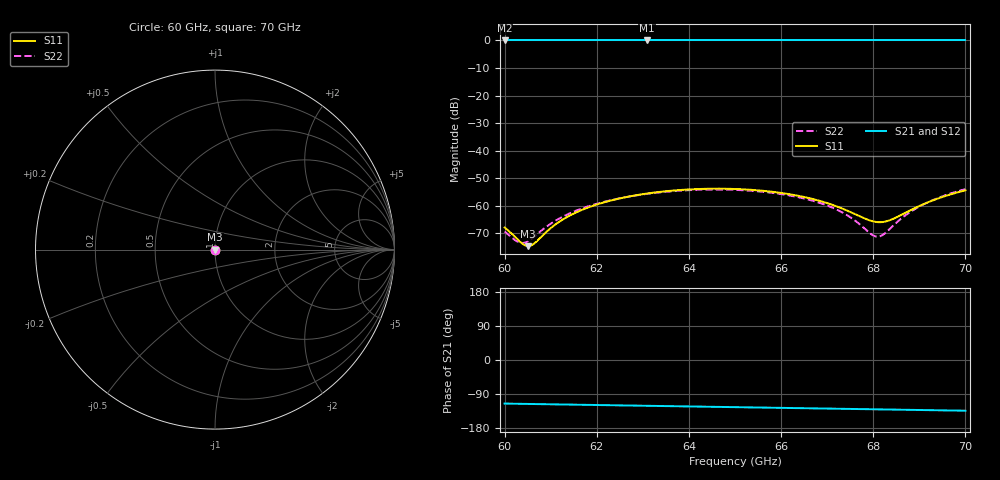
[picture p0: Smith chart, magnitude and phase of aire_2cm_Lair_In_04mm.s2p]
! TOUCHSTONE file generated by CST MICROWAVE STUDIO
! Date and time: Fri Mar  8 11:35:21 2024
! Project name: aire_def.cst
! Parameters = {d=9.2}
! Header version: 2018
! Port assignment regex: !\s*Touchstone port\s*([0-9]+)\s*=\s*(CST MWS port|CST DS port)\s*([0-9]+|Zmin|Zmax)\s*\(\"(.*)\"\)(\s*mode\s*([0-9]+))?.*
! Touchstone port assignment:
! Touchstone port 1 = CST MWS port 1 ("")
! Touchstone port 2 = CST MWS port 2 ("")
# GHz S MA R 376.7
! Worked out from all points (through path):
!   1001 points, 60 GHz to 70 GHz, reference 376.7 ohm
!   highest |S21| = 0.00 dB at 63.09 GHz (marker M1); lowest = 0.0 dB at 60 GHz (marker M2)
!   group delay of S21, straight-line fit = 5.23 ps
!   lowest |S11| = -74.7 dB at 60.51 GHz (marker M3), VSWR 1.00, Z = 377 - j0.132 ohm
!   |S11| at or under -10 dB: start of sweep to end of sweep
!   |S22| runs from -73.5 to -54.0 dB; largest |S21 - S12| = 0.002
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60  0.0004024 -43.9  0.9997 -115.0  1 -115.0  0.0003396 11.8
60.31  0.0002331 -70.1  0.9997 -115.6  1 -115.6  0.0002172 49.1
60.41  0.0001982 -86.8  0.9997 -115.8  1 -115.8  0.0002117 67.4
60.51  0.0001847 -108.0  0.9997 -116.0  1 -116.0  0.0002281 84.8
60.65  0.0002088 -136.9  0.9998 -116.2  1 -116.2  0.0002793 103.2
61.09  0.0004495 -176.6  0.9998 -117.1  1 -117.1  0.0005268 127.9
61.67  0.0008355 169.5  0.9999 -118.2  1 -118.2  0.0008881 136.5
62.31  0.001246 162.4  0.9999 -119.4  1 -119.4  0.001264 139.2
63.09  0.001667 157.0  1 -120.8  1 -120.8  0.001643 139.4
63.34  0.001775 155.6  1 -121.3  1 -121.3  0.00174 139.2
64.16  0.002005 152.2  1 -122.9  1 -122.9  0.001944 137.6
65  0.002014 150.7  1 -124.5  0.9999 -124.5  0.001941 135.2
65.91  0.00175 152.1  1 -126.2  0.9996 -126.2  0.001672 131.5
66.67  0.001336 157.8  1 -127.6  0.999 -127.6  0.001244 126.5
67.36  0.0008671 172.1  1 -128.9  0.9984 -128.8  0.0007314 116.0
68.03  0.0005127 -143.2  1 -130.1  1 -130.0  0.0002811 60.1
68.17  0.0005032 -127.7  1 -130.4  1 -130.3  0.000284 31.8
68.34  0.0005391 -109.4  1 -130.7  1 -130.7  0.0003672 5.2
68.68  0.0007315 -83.0  1 -131.4  1 -131.3  0.0006529 -18.5
69.03  0.001015 -68.1  1 -132.0  1 -132.0  0.0009974 -27.6
69.48  0.001423 -57.4  1 -132.8  1 -132.9  0.001461 -32.8
70  0.001906 -49.9  1 -133.8  1 -133.8  0.002002 -35.8
